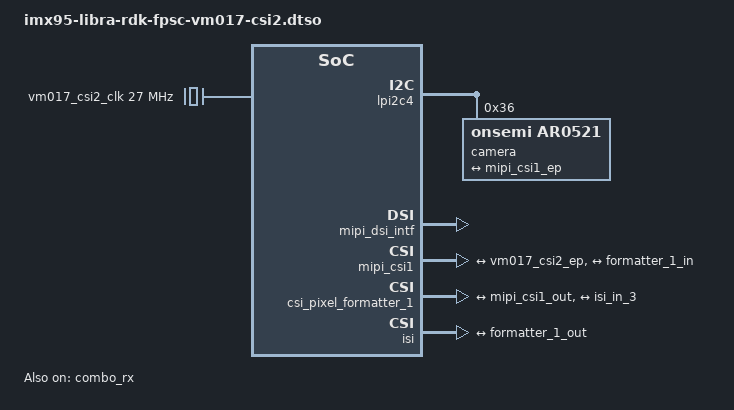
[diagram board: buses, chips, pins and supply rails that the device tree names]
// SPDX-License-Identifier: (GPL-2.0+ OR MIT)
/*
 * Copyright (C) 2025 PHYTEC Messtechnik GmbH
 * Author: Stefan Riedmüller <s.riedmueller@phytec.de>
 */

/dts-v1/;
/plugin/;

&{/} {
	vm017_csi2_clk: vm017-csi2-ext-clk {
		#clock-cells = <0>;
		compatible = "fixed-clock";
		clock-frequency = <27000000>;
	};
};

&lpi2c4 {
	#address-cells = <1>;
	#size-cells = <0>;
	status = "okay";

	camera@36 {
		#address-cells = <0x1>;
		#size-cells = <0x0>;

		compatible = "onsemi,ar0521";
		reg = <0x36>;
		clocks = <&vm017_csi2_clk>;
		clock-names = "ext";
		isp-bus-info = "csi0";

		port@0 {
			reg = <0>;

			vm017_csi2_ep: endpoint {
				remote-endpoint = <&mipi_csi1_ep>;
				bus-type = <4>; /* MIPI CSI-2 D-PHY */
				link-frequencies = /bits/ 64 <504000000>;
				data-lanes = <1 2 3 4>;
				clock-lanes = <0>;
				clock-noncontinuous = <1>;
			};
		};
	};
};

&display_stream_csr {
	status = "disabled";
};

&display_master_csr {
	status = "disabled";
};

&mipi_tx_phy_csr {
	status = "disabled";
};

&mipi_dsi_intf {
	status = "okay";
};

&combo_rx {
	status = "okay";
};

&mipi_csi1 {
	status = "okay";

	ports {
		#address-cells = <1>;
		#size-cells = <0>;

		port@0 {
			reg = <0>;
			mipi_csi1_ep: endpoint {
				remote-endpoint = <&vm017_csi2_ep>;
				data-lanes = <1 2 3 4>;
				clock-lanes = <0>;
			};
		};

		port@1 {
			reg = <1>;
				mipi_csi1_out: endpoint {
				remote-endpoint = <&formatter_1_in>;
			};
		};
	};
};

&csi_pixel_formatter_1 {
	status = "okay";

	ports {
		#address-cells = <1>;
		#size-cells = <0>;

		port@0 {
			reg = <0>;

			formatter_1_in: endpoint {
				remote-endpoint = <&mipi_csi1_out>;
			};
		};

		port@1 {
			reg = <1>;

			formatter_1_out: endpoint {
				remote-endpoint = <&isi_in_3>;
			};
		};
	};
};

&isi {
	status = "okay";

	ports {
		#address-cells = <1>;
		#size-cells = <0>;

		port@3 {
			reg = <3>;

			isi_in_3: endpoint {
				remote-endpoint = <&formatter_1_out>;
			};
		};
	};
};
